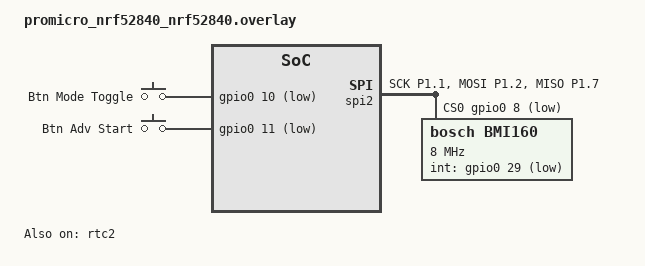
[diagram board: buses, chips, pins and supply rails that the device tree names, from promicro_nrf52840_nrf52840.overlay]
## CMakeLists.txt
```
# SPDX-License-Identifier: Apache-2.0

cmake_minimum_required(VERSION 3.20.0)
find_package(Zephyr REQUIRED HINTS $ENV{ZEPHYR_BASE})
project(blinky)

target_sources(app PRIVATE 
src/main.c
src/drivers/accel.c
src/drivers/csc_ble.c
src/drivers/csc_evt.c
src/app/csc_sensor.c
)
target_include_directories(app PRIVATE 
include
)
```

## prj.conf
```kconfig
#enable GPIO peripheral
CONFIG_GPIO=y

# enable timer
CONFIG_NRFX_TIMER=y
CONFIG_RTC=y
CONFIG_SYS_CLOCK_EXISTS=y
CONFIG_NRF_RTC_TIMER=y
CONFIG_COUNTER=y
CONFIG_BT_LIM_ADV_TIMEOUT=30

#enable I2C
CONFIG_SPI=y
CONFIG_SENSOR=y
CONFIG_BMI160=y
CONFIG_BMI160_ACCEL_ODR_50=y
CONFIG_BMI160_ACCEL_RANGE_4G=y
CONFIG_BMI160_ACCEL_PMU_LOW_POWER=y
CONFIG_BMI160_TRIGGER_GLOBAL_THREAD=y
CONFIG_BMI160_GYRO_PMU_SUSPEND=y
 
# enable UART
CONFIG_SERIAL=y

#enable console
CONFIG_CONSOLE=y
CONFIG_UART_CONSOLE=y
CONFIG_LOG=y
CONFIG_LOG_DEFAULT_LEVEL=4

# enable BT
CONFIG_BT=y
CONFIG_BT_PERIPHERAL=y
CONFIG_BT_DEVICE_NAME="CSC Sensor"
CONFIG_BT_DEVICE_APPEARANCE=1157
```

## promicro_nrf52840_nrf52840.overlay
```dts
&spi2 {
	compatible = "nordic,nrf-spim";
	status = "okay";
	cs-gpios = <&gpio0 8 GPIO_ACTIVE_LOW>;
	pinctrl-0 = <&spi2_default>;
	pinctrl-1 = <&spi2_sleep>;
	pinctrl-names = "default", "sleep";
	bmi160: bmi160@0 {
		compatible = "bosch,bmi160";
		status = "okay";
		reg = <0>;
		spi-max-frequency = <8000000>;
		int-gpios = <&gpio0 29 GPIO_ACTIVE_LOW>;
	};
};

&pinctrl {
	spi2_default: spi2_default {
		group1 {
			psels = <NRF_PSEL(SPIM_SCK, 1, 1)>,
			<NRF_PSEL(SPIM_MOSI, 1, 2)>,
			<NRF_PSEL(SPIM_MISO, 1, 7)>;
		};
	};
	spi2_sleep: spi2_sleep {
		group1 {
			psels = <NRF_PSEL(SPIM_SCK, 1, 1)>,
			<NRF_PSEL(SPIM_MOSI, 1, 2)>,
			<NRF_PSEL(SPIM_MISO, 1, 7)>;
			low-power-enable;
		};
	};
};

&rtc2 {
	status = "okay";
};

/ {
	buttons {
		compatible = "gpio-keys";
		btn_mode: btn_1 {
			gpios = <&gpio0 10 GPIO_ACTIVE_LOW>;
			label = "Btn Mode Toggle";
		};
		btn_adv: btn_2 {
			gpios = <&gpio0 11 GPIO_ACTIVE_LOW>;
			label = "Btn Adv Start";
		};
	};
};
```

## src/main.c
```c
/*
 * Copyright (c) 2016 Intel Corporation
 *
 * SPDX-License-Identifier: Apache-2.0
 */

#include <stdio.h>
#include <zephyr/kernel.h>
#include <zephyr/drivers/gpio.h>
#include <zephyr/drivers/spi.h>
#include <zephyr/drivers/sensor.h>

/* 1000 msec = 1 sec */
#define SLEEP_TIME_MS   1000

/* The devicetree node identifier for the "led0" alias. */
#define LED0_NODE DT_ALIAS(led0)

/*
 * A build error on this line means your board is unsupported.
 * See the sample documentation for information on how to fix this.
 */
static const struct gpio_dt_spec led = GPIO_DT_SPEC_GET(LED0_NODE, gpios);

int main(void)
{
	int ret;
	bool led_state = true;

	if (!gpio_is_ready_dt(&led)) {
		return 0;
	}

	ret = gpio_pin_configure_dt(&led, GPIO_OUTPUT_ACTIVE);
	if (ret < 0) {
		return 0;
	}

	while (1) {
		ret = gpio_pin_toggle_dt(&led);
		if (ret < 0) {
			return 0;
		}

		led_state = !led_state;
		printf("LED state: %s\n", led_state ? "ON" : "OFF");
		k_msleep(SLEEP_TIME_MS);
	}
	return 0;
}
```
